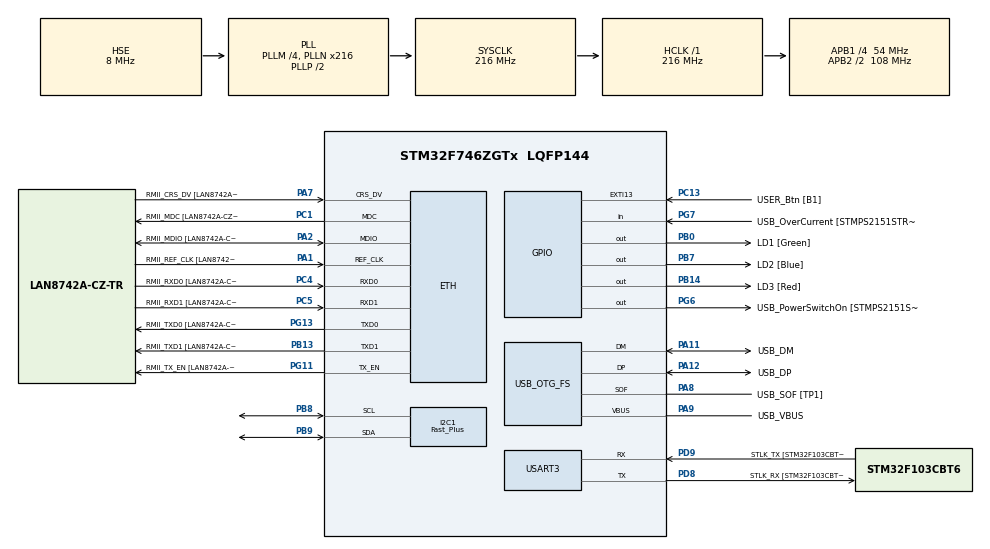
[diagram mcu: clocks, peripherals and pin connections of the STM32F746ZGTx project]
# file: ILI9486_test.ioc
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ETH.MediaInterface=HAL_ETH_RMII_MODE
ETH.PHY_Name=LAN8742A_PHY_ADDRESS
ETH.PHY_Value=0
ETH.PhyAddress=0
FREERTOS.Tasks01=defaultTask,24,256,StartDefaultTask,Default,NULL,Dynamic,NULL,NULL;myTask02,10,256,SSD1306UpdateTask01,Default,NULL,Dynamic,NULL,NULL
I2C1.I2C_Speed_Mode=I2C_Fast_Plus
I2C1.Timing=0x00200922
Mcu.Family=STM32F7
Mcu.Name=STM32F746ZGTx
Mcu.Package=LQFP144
NVIC.PriorityGroup=NVIC_PRIORITYGROUP_4
NVIC.TIM6_DAC_IRQn=true\:15\:0\:false\:false\:true\:false\:false\:true\:true
NVIC.TimeBase=TIM6_DAC_IRQn
NVIC.TimeBaseIP=TIM6
PA1.GPIO_Label=RMII_REF_CLK [LAN8742A-CZ-TR_REFCLK0]
PA1.Mode=RMII
PA1.Signal=ETH_REF_CLK
PA10.GPIO_Label=USB_ID
PA10.Signal=USB_OTG_FS_ID
PA11.GPIO_Label=USB_DM
PA11.Mode=Device_Only
PA11.Signal=USB_OTG_FS_DM
PA12.GPIO_Label=USB_DP
PA12.Mode=Device_Only
PA12.Signal=USB_OTG_FS_DP
PA13.GPIO_Label=TMS
PA13.Mode=Trace_Synchro_4bits_SW
PA13.Signal=SYS_JTMS-SWDIO
PA14.GPIO_Label=TCK
PA14.Mode=Trace_Synchro_4bits_SW
PA14.Signal=SYS_JTCK-SWCLK
PA2.GPIO_Label=RMII_MDIO [LAN8742A-CZ-TR_MDIO]
PA2.Mode=RMII
PA2.Signal=ETH_MDIO
PA7.GPIO_Label=RMII_CRS_DV [LAN8742A-CZ-TR_CRS_DV]
PA7.Mode=RMII
PA7.Signal=ETH_CRS_DV
PA8.GPIO_Label=USB_SOF [TP1]
PA8.Mode=Activate_SOF_FS
PA8.Signal=USB_OTG_FS_SOF
PA9.GPIO_Label=USB_VBUS
PA9.Mode=Activate_VBUS
PA9.Signal=USB_OTG_FS_VBUS
PB0.GPIO_Label=LD1 [Green]
PB0.GPIO_PuPd=GPIO_NOPULL
PB0.GPIO_Speed=GPIO_SPEED_FREQ_VERY_HIGH
PB0.Signal=GPIO_Output
PB13.GPIO_Label=RMII_TXD1 [LAN8742A-CZ-TR_TXD1]
PB13.Mode=RMII
PB13.Signal=ETH_TXD1
PB14.GPIO_Label=LD3 [Red]
PB14.GPIO_Speed=GPIO_SPEED_FREQ_VERY_HIGH
PB14.Signal=GPIO_Output
PB3.GPIO_Label=SW0
PB3.Signal=SYS_JTDO-SWO
PB7.GPIO_Label=LD2 [Blue]
PB7.GPIO_Speed=GPIO_SPEED_FREQ_VERY_HIGH
PB7.Signal=GPIO_Output
PB8.Mode=I2C
PB8.Signal=I2C1_SCL
PB9.Mode=I2C
PB9.Signal=I2C1_SDA
PC1.GPIO_Label=RMII_MDC [LAN8742A-CZ-TR_MDC]
PC1.Mode=RMII
PC1.Signal=ETH_MDC
PC13.GPIO_Label=USER_Btn [B1]
PC13.Signal=GPXTI13
PC14/OSC32_IN.Mode=LSE-External-Oscillator
PC14/OSC32_IN.Signal=RCC_OSC32_IN
PC15/OSC32_OUT.Mode=LSE-External-Oscillator
PC15/OSC32_OUT.Signal=RCC_OSC32_OUT
PC4.GPIO_Label=RMII_RXD0 [LAN8742A-CZ-TR_RXD0]
PC4.Mode=RMII
PC4.Signal=ETH_RXD0
PC5.GPIO_Label=RMII_RXD1 [LAN8742A-CZ-TR_RXD1]
PC5.Mode=RMII
PC5.Signal=ETH_RXD1
PD8.GPIO_Label=STLK_RX [STM32F103CBT6_PA3]
PD8.GPIO_PuPd=GPIO_PULLUP
PD8.Mode=Asynchronous
PD8.Signal=USART3_TX
PD9.GPIO_Label=STLK_TX [STM32F103CBT6_PA2]
PD9.GPIO_PuPd=GPIO_PULLUP
PD9.Mode=Asynchronous
PD9.Signal=USART3_RX
PE2.Mode=Trace_Synchro_4bits_SW
PE2.Signal=SYS_TRACECLK
PE3.Mode=Trace_Synchro_4bits_SW
PE3.Signal=SYS_TRACED0
PE4.Mode=Trace_Synchro_4bits_SW
PE4.Signal=SYS_TRACED1
PE5.Mode=Trace_Synchro_4bits_SW
PE5.Signal=SYS_TRACED2
PE6.Mode=Trace_Synchro_4bits_SW
PE6.Signal=SYS_TRACED3
PG11.GPIO_Label=RMII_TX_EN [LAN8742A-CZ-TR_TXEN]
PG11.Mode=RMII
PG11.Signal=ETH_TX_EN
PG13.GPIO_Label=RMII_TXD0 [LAN8742A-CZ-TR_TXD0]
PG13.Mode=RMII
PG13.Signal=ETH_TXD0
PG6.GPIO_Label=USB_PowerSwitchOn [STMPS2151STR_EN]
PG6.Signal=GPIO_Output
PG7.GPIO_Label=USB_OverCurrent [STMPS2151STR_FAULT]
PG7.Signal=GPIO_Input
PH0/OSC_IN.GPIO_Label=MCO [STM32F103CBT6_PA8]
PH0/OSC_IN.Mode=HSE-External-Clock-Source
PH0/OSC_IN.Signal=RCC_OSC_IN
PH1/OSC_OUT.Mode=HSE-External-Clock-Source
PH1/OSC_OUT.Signal=RCC_OSC_OUT
ProjectManager.HeapSize=0x400
ProjectManager.StackSize=0x800
ProjectManager.TargetToolchain=Makefile
RCC.48MHZClocksFreq_Value=24000000
RCC.AHBFreq_Value=216000000
RCC.APB1CLKDivider=RCC_HCLK_DIV4
RCC.APB1Freq_Value=54000000
RCC.APB1TimFreq_Value=108000000
RCC.APB2CLKDivider=RCC_HCLK_DIV2
RCC.APB2Freq_Value=108000000
RCC.APB2TimFreq_Value=216000000
RCC.CortexFreq_Value=216000000
RCC.HCLKFreq_Value=216000000
RCC.HSE_VALUE=8000000
RCC.HSI_VALUE=16000000
RCC.PLLM=4
RCC.PLLMUL=RCC_PLL_MUL9
RCC.PLLN=216
RCC.PLLQ=9
RCC.PRESCALERUSB=RCC_USBCLKSOURCE_PLL_DIV1_5
RCC.SYSCLKFreq_VALUE=216000000
RCC.SYSCLKSource=RCC_SYSCLKSOURCE_PLLCLK
RCC.SYSCLKSourceVirtual=RCC_SYSCLKSOURCE_PLLCLK
RCC.USBFreq_Value=48000000
RCC.VCOOutputFreq_Value=432000000
USART3.VirtualMode-Asynchronous=VM_ASYNC
USB_OTG_FS.VirtualMode=Device_Only
VP_FREERTOS_VS_CMSIS_V2.Mode=CMSIS_V2
VP_SYS_VS_tim6.Mode=TIM6
board=NUCLEO-F746ZG

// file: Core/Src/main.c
/* USER CODE BEGIN Header */
/**
  ******************************************************************************
  * @file           : main.c
  * @brief          : Main program body
  ******************************************************************************
  * @attention
  *
  * Copyright (c) 2025 STMicroelectronics.
  * All rights reserved.
  *
  * This software is licensed under terms that can be found in the LICENSE file
  * in the root directory of this software component.
  * If no LICENSE file comes with this software, it is provided AS-IS.
  *
  ******************************************************************************
  */
/* USER CODE END Header */
#include "main.h"
#include "cmsis_os.h"
#include "eth.h"
#include "i2c.h"
#include "usart.h"
#include "usb_otg.h"
#include "gpio.h"

/* USER CODE BEGIN Includes */

#include "ssd1306.h"

/* USER CODE END Includes */

void SystemClock_Config(void);
void MX_FREERTOS_Init(void);

int main(void)
{

  /* MCU Configuration--------------------------------------------------------*/

  /* Reset of all peripherals, Initializes the Flash interface and the Systick. */
  HAL_Init();

  /* Configure the system clock */
  SystemClock_Config();

  /* Initialize all configured peripherals */
  MX_GPIO_Init();
  MX_ETH_Init();
  MX_I2C1_Init();
  MX_USART3_UART_Init();
  MX_USB_OTG_FS_PCD_Init();
  /* USER CODE BEGIN 2 */

	ssd1306_Init();

  /* USER CODE END 2 */

  /* Init scheduler */
  osKernelInitialize();  /* Call init function for freertos objects (in cmsis_os2.c) */
  MX_FREERTOS_Init();

  /* Start scheduler */
  osKernelStart();

  /* We should never get here as control is now taken by the scheduler */

  /* Infinite loop */
  while (1)
  {

  }
}

void SystemClock_Config(void)
{
  RCC_OscInitTypeDef RCC_OscInitStruct = {0};
  RCC_ClkInitTypeDef RCC_ClkInitStruct = {0};

  /** Configure LSE Drive Capability
  */
  HAL_PWR_EnableBkUpAccess();

  /** Configure the main internal regulator output voltage
  */
  __HAL_RCC_PWR_CLK_ENABLE();
  __HAL_PWR_VOLTAGESCALING_CONFIG(PWR_REGULATOR_VOLTAGE_SCALE1);

  /** Initializes the RCC Oscillators according to the specified parameters
  * in the RCC_OscInitTypeDef structure.
  */
  RCC_OscInitStruct.OscillatorType = RCC_OSCILLATORTYPE_HSE;
  RCC_OscInitStruct.HSEState = RCC_HSE_BYPASS;
  RCC_OscInitStruct.PLL.PLLState = RCC_PLL_ON;
  RCC_OscInitStruct.PLL.PLLSource = RCC_PLLSOURCE_HSE;
  RCC_OscInitStruct.PLL.PLLM = 4;
  RCC_OscInitStruct.PLL.PLLN = 216;
  RCC_OscInitStruct.PLL.PLLP = RCC_PLLP_DIV2;
  RCC_OscInitStruct.PLL.PLLQ = 9;
  if (HAL_RCC_OscConfig(&RCC_OscInitStruct) != HAL_OK)
  {
    Error_Handler();
  }

  /** Activate the Over-Drive mode
  */
  if (HAL_PWREx_EnableOverDrive() != HAL_OK)
  {
    Error_Handler();
  }

  /** Initializes the CPU, AHB and APB buses clocks
  */
  RCC_ClkInitStruct.ClockType = RCC_CLOCKTYPE_HCLK|RCC_CLOCKTYPE_SYSCLK
                              |RCC_CLOCKTYPE_PCLK1|RCC_CLOCKTYPE_PCLK2;
  RCC_ClkInitStruct.SYSCLKSource = RCC_SYSCLKSOURCE_PLLCLK;
  RCC_ClkInitStruct.AHBCLKDivider = RCC_SYSCLK_DIV1;
  RCC_ClkInitStruct.APB1CLKDivider = RCC_HCLK_DIV4;
  RCC_ClkInitStruct.APB2CLKDivider = RCC_HCLK_DIV2;

  if (HAL_RCC_ClockConfig(&RCC_ClkInitStruct, FLASH_LATENCY_7) != HAL_OK)
  {
    Error_Handler();
  }
}

void HAL_TIM_PeriodElapsedCallback(TIM_HandleTypeDef *htim)
{
  if (htim->Instance == TIM6)
  {
    HAL_IncTick();
  }
}

void Error_Handler(void)
{
  __disable_irq();
  while (1)
  {
  }
}

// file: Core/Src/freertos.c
/* USER CODE BEGIN Header */
/**
	******************************************************************************
	* File Name          : freertos.c
	* Description        : Code for freertos applications
	******************************************************************************
	* @attention
	*
	* Copyright (c) 2025 STMicroelectronics.
	* All rights reserved.
	*
	* This software is licensed under terms that can be found in the LICENSE file
	* in the root directory of this software component.
	* If no LICENSE file comes with this software, it is provided AS-IS.
	*
	******************************************************************************
	*/
/* USER CODE END Header */

#include "FreeRTOS.h"
#include "task.h"
#include "main.h"
#include "cmsis_os.h"

/* USER CODE BEGIN Includes */

#include <stdbool.h>
#include "ssd1306.h"

/* USER CODE END Includes */

/* Definitions for defaultTask */
osThreadId_t defaultTaskHandle;
const osThreadAttr_t defaultTask_attributes = {
  .name = "defaultTask",
  .stack_size = 256 * 4,
  .priority = (osPriority_t) osPriorityNormal,
};
/* Definitions for myTask02 */
osThreadId_t myTask02Handle;
const osThreadAttr_t myTask02_attributes = {
  .name = "myTask02",
  .stack_size = 256 * 4,
  .priority = (osPriority_t) osPriorityLow2,
};

void StartDefaultTask(void *argument);
void SSD1306UpdateTask01(void *argument);

void MX_FREERTOS_Init(void); /* (MISRA C 2004 rule 8.1) */

void MX_FREERTOS_Init(void) {

  /* Create the thread(s) */
  /* creation of defaultTask */
  defaultTaskHandle = osThreadNew(StartDefaultTask, NULL, &defaultTask_attributes);

  /* creation of myTask02 */
  myTask02Handle = osThreadNew(SSD1306UpdateTask01, NULL, &myTask02_attributes);

}

void StartDefaultTask(void *argument)
{
  /* USER CODE BEGIN StartDefaultTask */
	/* Infinite loop */
	for(;;)
	{
		HAL_GPIO_TogglePin(LD1_GPIO_Port, LD1_Pin);
		vTaskDelay(pdMS_TO_TICKS(200));
		HAL_GPIO_TogglePin(LD1_GPIO_Port, LD1_Pin);
		vTaskDelay(pdMS_TO_TICKS(200));

		HAL_GPIO_TogglePin(LD2_GPIO_Port, LD2_Pin);
		vTaskDelay(pdMS_TO_TICKS(200));
		HAL_GPIO_TogglePin(LD2_GPIO_Port, LD2_Pin);
		vTaskDelay(pdMS_TO_TICKS(200));

		HAL_GPIO_TogglePin(LD3_GPIO_Port, LD3_Pin);
		vTaskDelay(pdMS_TO_TICKS(200));
		HAL_GPIO_TogglePin(LD3_GPIO_Port, LD3_Pin);
		vTaskDelay(pdMS_TO_TICKS(200));

		// osDelay(1);
	}
  /* USER CODE END StartDefaultTask */
}

void SSD1306UpdateTask01(void *argument)
{
  /* USER CODE BEGIN SSD1306UpdateTask01 */
	/* Infinite loop */
	for(;;)
	{
		ssd1306_UpdateScreen();

		vTaskDelay(pdMS_TO_TICKS(20)); // Delay for 1 second
	}
  /* USER CODE END SSD1306UpdateTask01 */
}
